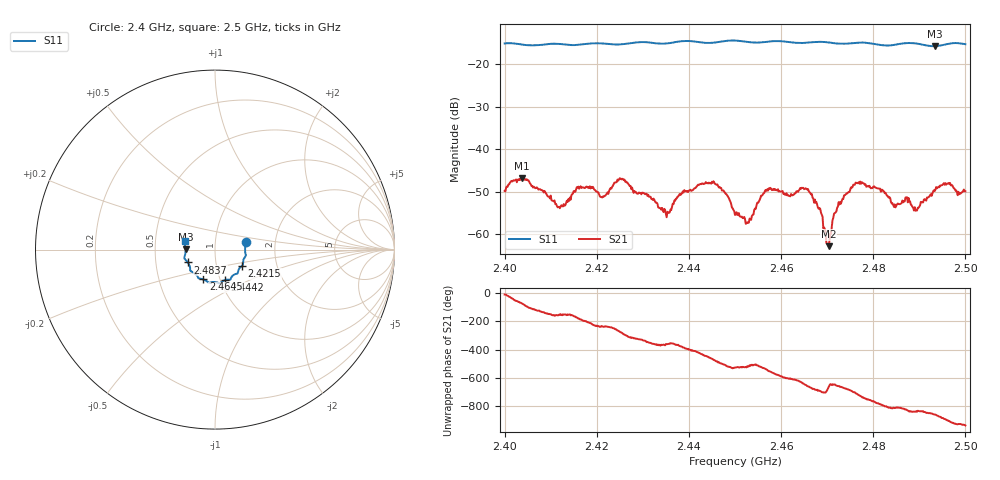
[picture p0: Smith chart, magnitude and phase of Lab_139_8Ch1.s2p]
# Hz S RI R 50
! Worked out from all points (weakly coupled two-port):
!   601 points, 2.4 GHz to 2.5 GHz, reference 50 ohm
!   highest |S21| = -46.78 dB at 2.4038 GHz (marker M1); lowest = -62.9 dB at 2.4703 GHz (marker M2)
!   lowest |S11| = -15.7 dB at 2.4933 GHz (marker M3), VSWR 1.39, Z = 35.9 + j0.0971 ohm
!   |S11| at or under -10 dB: start of sweep to end of sweep
!   S12 and S22 are empty: the file has one direction only
!   S11 on the Smith chart (normalised r, x): 2.4 GHz: 1.41, +0.12; 2.4215 GHz: 1.33, -0.25; 2.4442 GHz: 1.05, -0.37; 2.4645 GHz: 0.83, -0.29; 2.4837 GHz: 0.73, -0.11; 2.5 GHz: 0.71, +0.07
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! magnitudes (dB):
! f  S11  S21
! 2.4 GHz  -15.1  -49.8
! 2.4038 GHz  -15.4  -46.8
! 2.4118 GHz  -15.2  -53.6
! 2.4167 GHz  -15.3  -49.2
! 2.4215 GHz  -15.1  -51.2
! 2.4255 GHz  -15.3  -47.0
! 2.4333 GHz  -15.1  -53.7
! 2.4355 GHz  -15.0  -54.9
! 2.4442 GHz  -15.0  -48.1
! 2.45 GHz  -14.4  -55.5
! 2.4528 GHz  -14.7  -57.4
! 2.457 GHz  -14.7  -49.5
! 2.4645 GHz  -15.0  -49.1
! 2.4667 GHz  -14.8  -50.6
! 2.4703 GHz  -14.8  -62.9
! 2.472 GHz  -15.1  -54.7
! 2.4762 GHz  -15.0  -47.9
! 2.4833 GHz  -15.6  -51.4
! 2.4837 GHz  -15.5  -51.5
! 2.4893 GHz  -15.1  -54.3
! 2.4933 GHz  -15.7  -49.9
! 2.5 GHz  -15.3  -49.9
